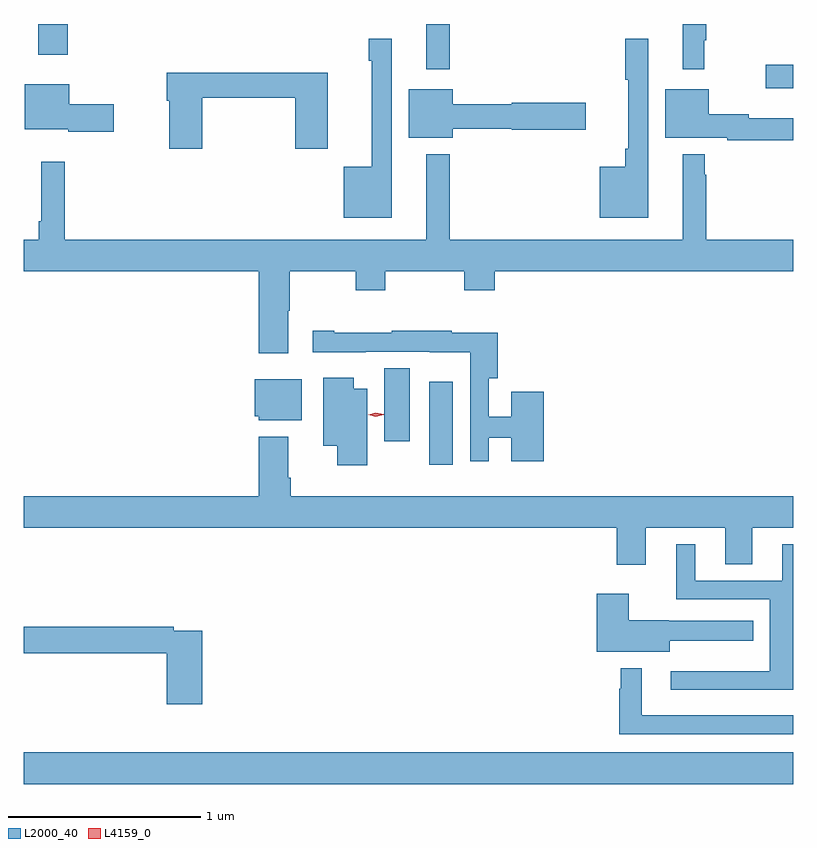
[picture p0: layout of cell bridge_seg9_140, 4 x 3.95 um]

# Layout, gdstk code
import gdstk
lib = gdstk.Library(unit=1e-6, precision=1e-09)
def R(c, l, rs):  # rectangles x0, y0, x1, y1
    for r in rs: c.add(gdstk.rectangle(r[:2], r[2:], *l))
def P(c, l, *ps):  # polygons
    for p in ps: c.add(gdstk.Polygon(p, *l))
L2000_40 = (2000, 40)
L4159_0 = (4159, 0)

bridge_seg9_140 = lib.new_cell('bridge_seg9_140')
R(bridge_seg9_140, L2000_40, [(430.543,1196.42,434.543,1196.584), (432.65,1198.08,432.772,1198.51), (432.416,1198.2,432.55,1198.58), (434.4,1200.035,434.543,1200.157), (432.635,1200.135,432.757,1200.369), (430.619,1200.21,430.772,1200.369)])
P(bridge_seg9_140, L2000_40, [(434.081,1200.284),(434.089,1200.284),(434.089,1200.369),(433.967,1200.369),(433.967,1200.135),(434.081,1200.135)],
  [(432.457,1200.292),(432.336,1200.292),(432.336,1200.179),(432.353,1200.179),(432.353,1199.626),(432.206,1199.626),(432.206,1199.363),(432.457,1199.363)],
  [(433.789,1200.292),(433.668,1200.292),(433.668,1200.079),(433.685,1200.079),(433.685,1199.722),(433.668,1199.722),(433.668,1199.626),(433.538,1199.626),(433.538,1199.363),(433.789,1199.363)],
  [(431.471,1199.986),(431.954,1199.986),(431.954,1199.721),(432.124,1199.721),(432.124,1200.115),(431.288,1200.115),(431.288,1199.969),(431.3,1199.969),(431.3,1199.721),(431.471,1199.721)],
  [(431.011,1199.952),(430.78,1199.952),(430.78,1200.055),(430.55,1200.055),(430.55,1199.822),(430.776,1199.822),(430.776,1199.81),(431.011,1199.81)],
  [(434.543,1199.88),(434.312,1199.88),(434.312,1199.9),(434.104,1199.9),(434.104,1200.031),(433.877,1200.031),(433.877,1199.777),(434.2,1199.777),(434.2,1199.764),(434.543,1199.764)],
  [(432.772,1199.824),(433.08,1199.824),(433.08,1199.819),(433.465,1199.819),(433.465,1199.961),(433.08,1199.961),(433.08,1199.953),(432.772,1199.953),(432.772,1200.031),(432.545,1200.031),(432.545,1199.777),(432.772,1199.777)],
  [(431.917,1198.88),(431.925,1198.88),(431.925,1199.084),(432.268,1199.084),(432.268,1198.985),(432.423,1198.985),(432.423,1199.084),(432.832,1199.084),(432.832,1198.985),(432.992,1198.985),(432.992,1199.084),(434.543,1199.084),(434.543,1199.248),(434.089,1199.248),(434.089,1199.585),(434.082,1199.585),(434.082,1199.692),(433.967,1199.692),(433.967,1199.248),(432.757,1199.248),(432.757,1199.692),(432.635,1199.692),(432.635,1199.248),(430.757,1199.248),(430.757,1199.653),(430.636,1199.653),(430.636,1199.344),(430.621,1199.344),(430.621,1199.248),(430.543,1199.248),(430.543,1199.084),(431.765,1199.084),(431.765,1198.659),(431.917,1198.659)],
  [(432.96,1198.218),(433.076,1198.218),(433.076,1198.098),(433.247,1198.098),(433.247,1198.459),(433.076,1198.459),(433.076,1198.328),(432.96,1198.328),(432.96,1198.529),(433.007,1198.529),(433.007,1198.764),(432.767,1198.764),(432.767,1198.774),(432.457,1198.774),(432.457,1198.764),(432.157,1198.764),(432.157,1198.774),(432.045,1198.774),(432.045,1198.664),(432.32,1198.664),(432.32,1198.665),(432.654,1198.665),(432.654,1198.664),(432.864,1198.664),(432.864,1198.098),(432.96,1198.098)],
  [(432.328,1198.474),(432.259,1198.474),(432.259,1198.531),(432.101,1198.531),(432.101,1198.178),(432.173,1198.178),(432.173,1198.077),(432.328,1198.077)],
  [(431.989,1198.522),(431.744,1198.522),(431.744,1198.332),(431.766,1198.332),(431.766,1198.31),(431.989,1198.31)],
  [(433.777,1197.752),(434.189,1197.752),(434.189,1197.562),(434.329,1197.562),(434.329,1197.752),(434.543,1197.752),(434.543,1197.916),(431.93,1197.916),(431.93,1198.012),(431.917,1198.012),(431.917,1198.225),(431.765,1198.225),(431.765,1197.916),(430.543,1197.916),(430.543,1197.752),(433.625,1197.752),(433.625,1197.558),(433.777,1197.558)],
  [(434.543,1197.667),(434.486,1197.667),(434.486,1197.477),(434.032,1197.477),(434.032,1197.667),(433.934,1197.667),(433.934,1197.521),(433.933,1197.521),(433.933,1197.381),(434.42,1197.381),(434.42,1197.007),(433.905,1197.007),(433.905,1196.909),(434.543,1196.909)],
  [(433.9,1197.164),(434.335,1197.164),(434.335,1197.268),(433.896,1197.268),(433.896,1197.271),(433.687,1197.271),(433.687,1197.409),(433.52,1197.409),(433.52,1197.107),(433.9,1197.107)],
  [(431.471,1197.216),(431.324,1197.216),(431.324,1197.236),(430.543,1197.236),(430.543,1197.1),(431.288,1197.1),(431.288,1196.835),(431.471,1196.835)],
  [(434.543,1196.776),(433.756,1196.776),(433.756,1197.022),(433.646,1197.022),(433.646,1196.915),(433.639,1196.915),(433.639,1196.679),(434.543,1196.679)])
P(bridge_seg9_140, L4159_0, [(432.374,1198.329),(432.334,1198.339),(432.334,1198.339),(432.334,1198.339),(432.374,1198.349),(432.414,1198.34),(432.414,1198.339),(432.414,1198.339)])

lib.write_gds('bridge_seg9_140.gds')
